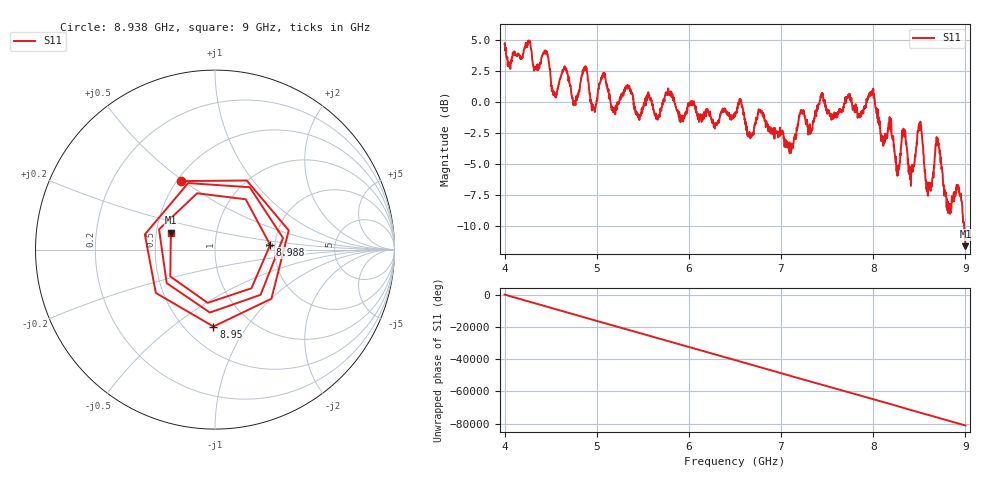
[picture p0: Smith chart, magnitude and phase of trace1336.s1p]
! Created with skrf 1.8.0 (http://scikit-rf.org).
# Hz S RI R 50.0
!freq ReS11 ImS11
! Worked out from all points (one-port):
!   1601 points, 4 GHz to 9 GHz, reference 50 ohm
!   lowest |S11| = -11.6 dB at 9 GHz (marker M1), VSWR 1.71, Z = 29.8 + j6.05 ohm
!   |S11| at or under -10 dB: 8.986423 GHz to end of sweep
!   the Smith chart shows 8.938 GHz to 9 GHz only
!   S11 on the Smith chart (normalised r, x): 8.938 GHz: 0.53, +0.49; 8.95 GHz: 0.68, -0.71; 8.988 GHz: 1.88, +0.11; 9 GHz: 0.60, +0.12
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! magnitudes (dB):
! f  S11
! 4 GHz  4.7
! 4.45 GHz  3.9
! 4.544 GHz  0.6
! 4.625 GHz  2.4
! 4.759 GHz  -0.1
! 4.872 GHz  2.9
! 4.962 GHz  -0.3
! 5.069 GHz  2.2
! 5.25 GHz  0.3
! 5.875 GHz  -0.6
! 6.5 GHz  -1.1
! 7.125 GHz  -3.4
! 7.225 GHz  -0.8
! 7.316 GHz  -2.5
! 7.75 GHz  0.2
! 7.988 GHz  0.7
! 8.259 GHz  -5.2
! 8.328 GHz  -2.1
! 8.375 GHz  -5.0
! 8.425 GHz  -5.0
! 8.506 GHz  -1.7
! 8.591 GHz  -7.4
! 8.7 GHz  -3.1
! 8.819 GHz  -8.7
! 8.938 GHz  -7.4
! 8.95 GHz  -7.4
! 8.988 GHz  -10.2
! 9 GHz  -11.6
